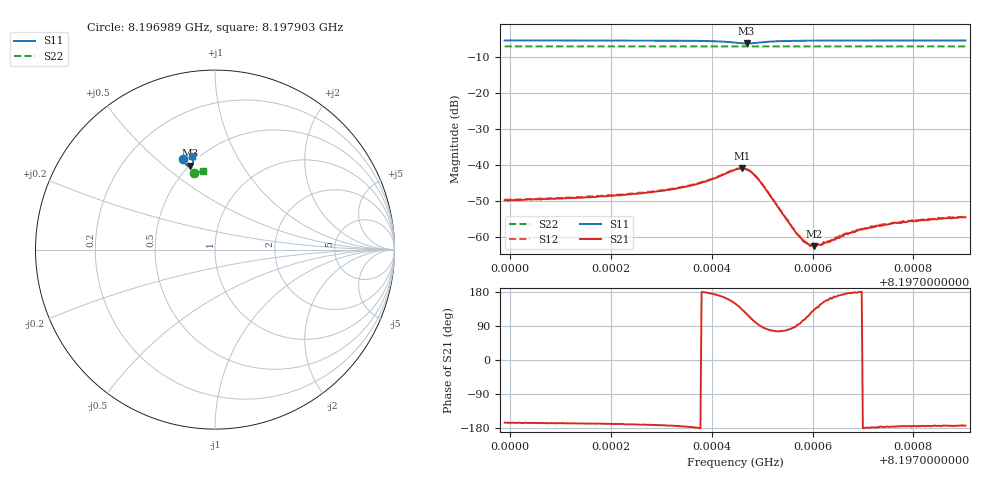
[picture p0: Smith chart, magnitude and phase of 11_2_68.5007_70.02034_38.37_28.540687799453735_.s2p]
#  HZ  S  RI  R  50.00
! Rohde & Schwarz Vector Network Analyzer
! Rohde-Schwarz,ZNB20-2Port,1311601062101988,3.16
! Created: UTC 3/20/2024, 4:49:01 PM
! freq[Hz]  re:S11  im:S11  re:S21  im:S21  re:S12  im:S12  re:S22  im:S22
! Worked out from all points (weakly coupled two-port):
!   401 points, 8.196989 GHz to 8.197903 GHz, reference 50 ohm
!   highest |S21| = -41.02 dB at 8.19746 GHz (marker M1); lowest = -62.7 dB at 8.197604 GHz (marker M2)
!   lowest |S11| = -6.3 dB at 8.197469 GHz (marker M3), VSWR 2.90, Z = 25.2 + j30.9 ohm
!   |S11| at or under -10 dB: nowhere
!   |S22| runs from -7.1 to -7.1 dB; largest |S21 - S12| = 0.00042
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8.1969889e9  -0.1801 0.5049  -0.00311 -0.000823  -0.00317 -0.000701  -0.1152 0.4288
8.1971421e9  -0.1677 0.5086  -0.0034 -0.000752  -0.00351 -0.000627  -0.1067 0.4306
8.1972267e9  -0.1602 0.5103  -0.00375 -0.00068  -0.00386 -0.000556  -0.102 0.4317
8.1972953e9  -0.1526 0.5114  -0.00424 -0.000605  -0.00434 -0.000448  -0.0981 0.4325
8.1973319e9  -0.1474 0.5114  -0.00469 -0.000463  -0.00478 -0.000278  -0.0961 0.4329
8.1973753e9  -0.1393 0.51  -0.00549 -4.7e-05  -0.00563 0.000173  -0.0935 0.4332
8.197405e9  -0.1317 0.5062  -0.00641 0.000733  -0.00647 0.000994  -0.0917 0.4333
8.1974462e9  -0.1225 0.4853  -0.00732 0.00434  -0.00724 0.00473  -0.0895 0.4332
8.1974599e9  -0.1281 0.4729  -0.00614 0.00643  -0.00598 0.00677  -0.0887 0.4329
8.197469e9  -0.1371 0.467  -0.00456 0.00731  -0.0043 0.00764  -0.0885 0.433
8.1974805e9  -0.1506 0.4666  -0.00221 0.00735  -0.00196 0.00755  -0.0885 0.4333
8.1974942e9  -0.1623 0.4744  -0.000187 0.00606  3.63e-05 0.00614  -0.0879 0.4335
8.1975719e9  -0.1588 0.5062  -6.86e-05 0.00103  1.61e-06 0.00106  -0.0836 0.4349
8.1975879e9  -0.1565 0.5084  -0.000299 0.000754  -0.000296 0.00077  -0.0826 0.4352
8.1975993e9  -0.1549 0.5097  -0.000467 0.000587  -0.000461 0.000619  -0.0819 0.4352
8.1976039e9  -0.1543 0.5101  -0.00051 0.000532  -0.00049 0.000572  -0.0817 0.4353
8.1976131e9  -0.153 0.5109  -0.000612 0.000472  -0.000597 0.000486  -0.0812 0.4356
8.1976588e9  -0.1474 0.5136  -0.00103 0.000138  -0.00101 0.000178  -0.0784 0.4359
8.1976931e9  -0.1439 0.5152  -0.00127 5.01e-06  -0.00125 6.05e-05  -0.0766 0.4363
8.1977525e9  -0.1383 0.5171  -0.00149 -9.31e-05  -0.0015 -4.59e-05  -0.0733 0.4366
8.1977937e9  -0.1348 0.5182  -0.00164 -0.000175  -0.00164 -7.81e-05  -0.071 0.4369
8.1979034e9  -0.126 0.5204  -0.00185 -0.000224  -0.00191 -0.000135  -0.0647 0.4378
